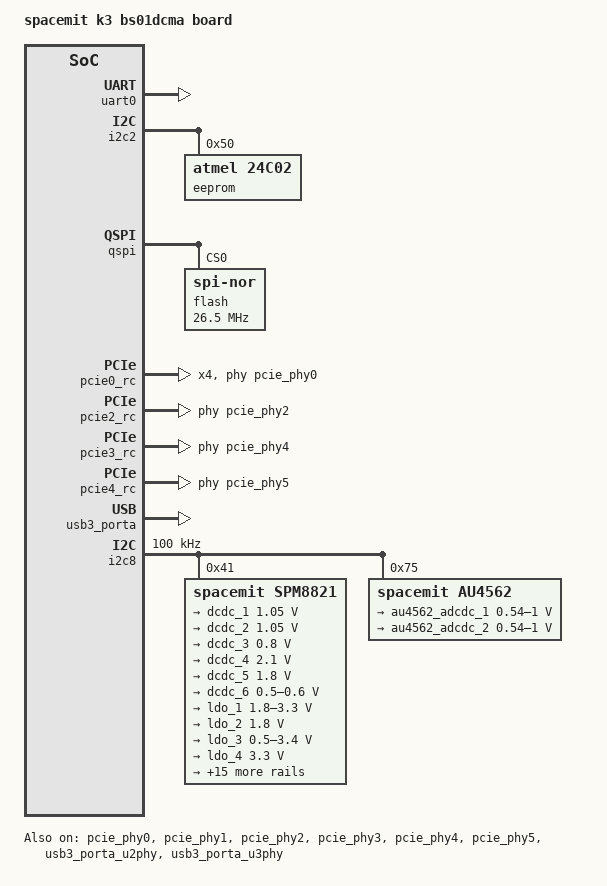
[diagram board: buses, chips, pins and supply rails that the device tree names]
// SPDX-License-Identifier: GPL-2.0
/*
 * finch board's base device tree configure.
 *
 * Copyright (C) 2025 SPACEMIT Micro Limited
 */

#include "k3.dtsi"
#include "k3-pinctrl.dtsi"

/ {
	model = "spacemit k3 bs01dcma board";
};

&cpus {
	timebase-frequency = <24000000>;
};

&pinctrl {
	qspi_grp {
		power-source = <1800>;
	};

	qspi_cs0_grp {
		power-source = <1800>;
	};
};

&uart0 {
	status = "okay";
};

&i2c2 {
	#address-cells = <1>;
	#size-cells = <0>;
	pinctrl-names = "default";
	pinctrl-0 = <&pinctrl_i2c2_1>;
	status = "okay";

	eeprom@50{
		compatible = "atmel,24c02";
		reg = <0x50>;
		status = "okay";
	};
};

&qspi {
	status = "okay";
	pinctrl-names = "default";
	pinctrl-0 = <&pinctrl_qspi &pinctrl_qspi_cs0>;

	flash@0 {
		compatible = "jedec,spi-nor";
		reg = <0>;
		spi-max-frequency = <26500000>;
		m25p,fast-read;
		broken-flash-reset;
		status = "okay";
	};
};

&pcie_phy0 {
	status = "okay";
};

&pcie_phy1 {
	status = "okay";
};

&pcie_phy2 {
	status = "okay";
};

&pcie_phy3 {
	status = "okay";
};

&pcie_phy4 {
	status = "okay";
};

&pcie_phy5 {
	status = "okay";
};

&pcie0_rc{
	pinctrl-names = "default";
	pinctrl-0 = <&pinctrl_pcie0_1>;
	phys = <&pcie_phy0>, <&pcie_phy1>;
	phy-names = "pcie-phy0", "pcie_phy1";

	num-lanes = <4>;
	status = "okay";
};

&pcie2_rc {
	pinctrl-names = "default";
	pinctrl-0 = <&pinctrl_pcie2_1>;
	phys = <&pcie_phy2>, <&pcie_phy3>;
	phy-names = "pcie-phy0", "pcie-phy1";

	status = "okay";
};

&pcie3_rc {
	phys = <&pcie_phy4>;
	phy-names = "pcie-phy0";

	status = "okay";
};

&pcie4_rc {
	pinctrl-names = "default";
	pinctrl-0 = <&pinctrl_pcie4_1>;
	phys = <&pcie_phy5>;
	phy-names = "pcie-phy0";

	status = "okay";
};

&usb3_porta_u2phy {
	status = "okay";
};

&usb3_porta_u3phy {
	status = "okay";
};

&usb3_porta {
	status = "okay";
	u-boot,dm-spl;
	dwc3@cad00000 {
		dr_mode = "peripheral";
		maximum-speed = "high-speed";
	};
};

&i2c8 {
	clock-frequency = <100000>;
	u-boot,dm-spl;
	pinctrl-names = "default";
	pinctrl-0 = <&pinctrl_i2c8>;
	status = "okay";

	spm8821: pmic@41 {
		compatible = "spacemit,spm8821";
		reg = <0x41>;
		bus = <8>;
		u-boot,dm-spl;

		regulators {
			/* buck */
			dcdc_1: DCDC_REG1 {
				regulator-name = "dcdc1";
				regulator-min-microvolt = <1050000>;
				regulator-max-microvolt = <1050000>;
				regulator-always-on;
				regulator-boot-on;
				u-boot,dm-spl;
				regulator-state-mem {
					regulator-suspend-microvolt = <1050000>;
				};
			};

			dcdc_2: DCDC_REG2 {
				regulator-name = "dcdc2";
				regulator-min-microvolt = <1050000>;
				regulator-max-microvolt = <1050000>;
				regulator-always-on;
				regulator-boot-on;
				regulator-state-mem {
					regulator-suspend-microvolt = <1050000>;
				};
			};

			dcdc_3: DCDC_REG3 {
				regulator-name = "dcdc3";
				regulator-min-microvolt = <800000>;
				regulator-max-microvolt = <800000>;
				regulator-always-on;
				regulator-boot-on;
				u-boot,dm-spl;
				regulator-state-mem {
					regulator-suspend-microvolt = <800000>;
				};
			};

			dcdc_4: DCDC_REG4 {
				regulator-name = "dcdc4";
				regulator-min-microvolt = <2100000>;
				regulator-max-microvolt = <2100000>;
				regulator-always-on;
				regulator-boot-on;
				regulator-state-mem {
					regulator-suspend-microvolt = <2100000>;
				};
			};

			dcdc_5: DCDC_REG5 {
				regulator-name = "dcdc5";
				regulator-min-microvolt = <1800000>;
				regulator-max-microvolt = <1800000>;
				regulator-always-on;
				regulator-boot-on;
				regulator-state-mem {
					regulator-suspend-microvolt = <1800000>;
				};
			};

			dcdc_6: DCDC_REG6 {
				regulator-name = "dcdc6";
				regulator-min-microvolt = <500000>;
				regulator-max-microvolt = <600000>;
				regulator-always-on;
				regulator-boot-on;
				regulator-state-mem {
					regulator-suspend-microvolt = <500000>;
				};
			};

			/* aldo */
			ldo_1: LDO_REG1 {
				regulator-name = "ldo1";
				regulator-min-microvolt = <1800000>;
				regulator-max-microvolt = <3300000>;
				regulator-always-on;
				regulator-boot-on;
				u-boot,dm-spl;
				regulator-state-mem {
					regulator-suspend-microvolt = <1800000>;
				};
			};

			ldo_2: LDO_REG2 {
				regulator-name = "ldo2";
				regulator-min-microvolt = <1800000>;
				regulator-max-microvolt = <1800000>;
				regulator-always-on;
				regulator-boot-on;
				regulator-state-mem {
					regulator-suspend-microvolt = <1800000>;
				};
			};

			ldo_3: LDO_REG3 {
				regulator-name = "ldo3";
				regulator-min-microvolt = <500000>;
				regulator-max-microvolt = <3400000>;
				regulator-state-mem {
					regulator-suspend-microvolt = <3300000>;
				};
			};

			ldo_4: LDO_REG4 {
				regulator-name = "ldo4";
				regulator-min-microvolt = <3300000>;
				regulator-max-microvolt = <3300000>;
				regulator-always-on;
				regulator-boot-on;
				regulator-state-mem {
					regulator-suspend-microvolt = <3300000>;
				};
			};

			/* dldo */
			ldo_5: LDO_REG5 {
				regulator-name = "ldo5";
				regulator-min-microvolt = <1200000>;
				regulator-max-microvolt = <1200000>;
				regulator-always-on;
				regulator-boot-on;
				regulator-state-mem {
					regulator-suspend-microvolt = <1200000>;
				};
			};

			ldo_6: LDO_REG6 {
				regulator-name = "ldo6";
				regulator-min-microvolt = <900000>;
				regulator-max-microvolt = <900000>;
				regulator-always-on;
				regulator-boot-on;
				regulator-state-mem {
					regulator-suspend-microvolt = <900000>;
				};
			};

			ldo_7: LDO_REG7 {
				regulator-name = "ldo7";
				regulator-min-microvolt = <800000>;
				regulator-max-microvolt = <800000>;
				regulator-always-on;
				regulator-boot-on;
				regulator-state-mem {
					regulator-suspend-microvolt = <800000>;
				};
			};

			ldo_8: LDO_REG8 {
				regulator-name = "ldo8";
				regulator-min-microvolt = <1800000>;
				regulator-max-microvolt = <1800000>;
				regulator-boot-on;
				regulator-state-mem {
					regulator-suspend-microvolt = <1800000>;
				};
			};

			ldo_9: LDO_REG9 {
				regulator-name = "ldo9";
				regulator-min-microvolt = <1800000>;
				regulator-max-microvolt = <1800000>;
				regulator-always-on;
				regulator-boot-on;
				regulator-state-mem {
					regulator-suspend-microvolt = <1800000>;
				};
			};

			ldo_10: LDO_REG10 {
				regulator-name = "ldo10";
				regulator-min-microvolt = <1800000>;
				regulator-max-microvolt = <1800000>;
				regulator-always-on;
				regulator-boot-on;
				regulator-state-mem {
					regulator-suspend-microvolt = <1800000>;
				};
			};

			ldo_11: LDO_REG11 {
				regulator-name = "ldo11";
				regulator-min-microvolt = <1800000>;
				regulator-max-microvolt = <1800000>;
				regulator-always-on;
				regulator-boot-on;
				regulator-state-mem {
					regulator-suspend-microvolt = <1800000>;
				};
			};

			sw_2: SWITCH_REG1 {
				regulator-name = "switch1";
			};

			power_event: SWITCH_REG2 {
				regulator-name = "pwr-event";
			};

			power_int: SWITCH_REG3 {
				regulator-name = "pwr-int";
			};

			rtc_ctrl: SWITCH_REG4 {
				regulator-name = "rtc-ctrl";
			};

			rtc_event: SWITCH_REG5 {
				regulator-name = "rtc-event";
			};

			rtc_irq: SWITCH_REG6 {
				regulator-name = "rtc-irq";
			};

			power_down: SWITCH_REG7 {
				regulator-name = "power-down";
			};

			reboot_flag: SWITCH_REG8 {
				regulator-name = "reboot-flag";
			};

			wdt_pm8821: PMIC_WDT {
				wdt-name = "wdt_pm8821";
			};
		};
	};

	au4562: au4562@75 {
		compatible = "spacemit,au4562";
		reg = <0x75>;
		bus = <8>;
		u-boot,dm-spl;

		regulators {
			u-boot,dm-spl;

			au4562_adcdc_1: ADCDC_REG1 {
				regulator-name = "adcdc1";
				regulator-min-microvolt = <540000>;
				regulator-max-microvolt = <1000000>;
				regulator-init-microvolt = <950000>;
				regulator-boot-on;
				u-boot,dm-spl;
				regulator-state-mem {
					regulator-off-in-suspend;
				};
			};

			au4562_adcdc_2: ADCDC_REG2 {
				regulator-name = "adcdc2";
				regulator-min-microvolt = <540000>;
				regulator-max-microvolt = <1000000>;
				regulator-init-microvolt = <950000>;
				regulator-boot-on;
				u-boot,dm-spl;
				regulator-state-mem {
					regulator-off-in-suspend;
				};
			};
		};
	};
};
